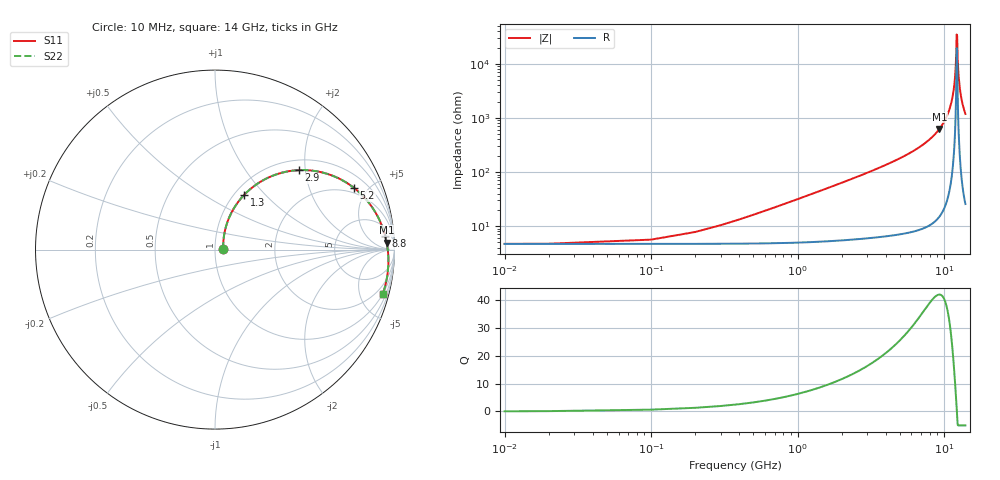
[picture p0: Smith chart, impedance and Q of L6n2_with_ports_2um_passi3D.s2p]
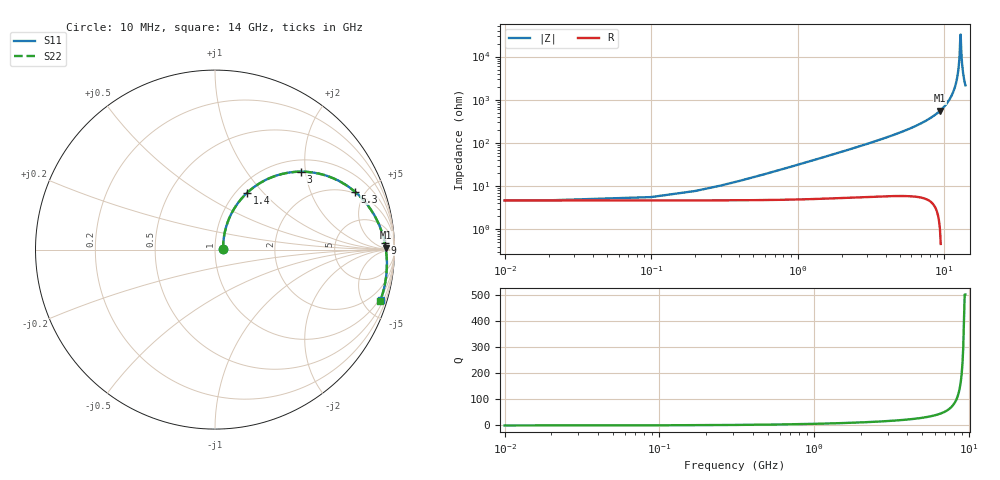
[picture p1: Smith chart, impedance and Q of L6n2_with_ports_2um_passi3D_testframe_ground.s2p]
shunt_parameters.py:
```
"""Shunt path of the L6n2 inductor for two ground plates, compared to the measurement (README section 9).

The shunt branch is taken from the common-mode admittance (both ports tied together, Y11 + Y12 + Y21 + Y22) and
fitted from 0.3 to 5 GHz as an oxide capacitance Cox in series with the substrate, Rsub parallel to Csub.
Single-ended values are for port 2 grounded (1 / Y11), differential values as in plot_study.py.

Prints the table of section 9 and writes plots/shunt_ground.png.

usage: python shunt_parameters.py [file.s2p ...]
Without arguments: the measurement, the 2 um conformal model and the same model with the test frame ground.
With arguments: these Touchstone files instead, e.g. your own inductor results.
"""
import os
import sys

import matplotlib
matplotlib.use("Agg")
from matplotlib import pyplot as plt
import numpy as np
import skrf as rf
from scipy.optimize import least_squares

here = os.path.dirname(os.path.abspath(__file__))
study_dir = os.path.dirname(here)

DEFAULT = [
    (os.path.join(study_dir, "meas_L5_6n2_THRU_deemb.S2P"), "Measured (de-embedded)"),
    (os.path.join(here, "L6n2_with_ports_2um_passi3D.s2p"), "Sim: small ground plate (all other models)"),
    (os.path.join(here, "L6n2_with_ports_2um_passi3D_testframe_ground.s2p"), "Sim: ground plate of test frame size"),
]
FIT_RANGE = (0.3e9, 5e9)
Q_RANGE = (0.3e9, 12e9)     # search range for peak Q and SRF

colors = ['b', 'r', 'm', 'c', 'g', 'y', 'k']
linestyles = ['solid', 'dashed', 'dashdot', 'dotted', 'solid', 'dashed', 'dashdot']


def y_common(nw):
    """shunt admittance of both ports together"""
    y = nw.y
    return y[:, 0, 0] + y[:, 0, 1] + y[:, 1, 0] + y[:, 1, 1]


def fit_shunt(nw):
    """Cox (F), Rsub (Ohm), Csub (F) and the rms fit error (relative)"""
    sel = (nw.f >= FIT_RANGE[0]) & (nw.f <= FIT_RANGE[1])
    w = 2 * np.pi * nw.f[sel]
    y = y_common(nw)[sel]

    def residual(q):
        cox, rsub, csub = np.exp(q)
        model = 1 / (1 / (1j * w * cox) + 1 / (1 / rsub + 1j * w * csub))
        e = (model - y) / np.abs(y)
        return np.r_[e.real, e.imag]

    best = None
    for c0 in (60e-15, 120e-15, 250e-15):
        for r0 in (500.0, 2000.0):
            r = least_squares(residual, np.log([c0, r0, 30e-15]))
            if best is None or r.cost < best.cost:
                best = r
    cox, rsub, csub = np.exp(best.x)
    return cox, rsub, csub, np.sqrt(best.cost / len(w))


def peak_q_and_srf(f, z):
    """peak Q and the first zero crossing of the reactance within Q_RANGE"""
    sel = (f >= Q_RANGE[0]) & (f <= Q_RANGE[1])
    q = np.where(sel, z.imag / z.real, -np.inf)
    i = np.where(sel[:-1] & (z.imag[:-1] > 0) & (z.imag[1:] <= 0))[0]
    srf = np.nan
    if len(i):
        k = i[0]
        srf = f[k] + (f[k + 1] - f[k]) * z.imag[k] / (z.imag[k] - z.imag[k + 1])
    return q.max(), srf


def values(nw):
    cox, rsub, csub, rms = fit_shunt(nw)
    f = nw.f
    k = int(np.argmin(np.abs(f - 2.4e9)))
    z = nw.z
    q_se, srf_se = peak_q_and_srf(f, 1 / nw.y[:, 0, 0])
    q_diff, srf_diff = peak_q_and_srf(f, z[:, 0, 0] - z[:, 0, 1] - z[:, 1, 0] + z[:, 1, 1])
    return [("Substrate resistance Rsub (Ohm)", "%.0f" % rsub),
            ("Substrate capacitance Csub (fF)", "%.0f" % (csub * 1e15)),
            ("Oxide capacitance Cox (fF)", "%.0f" % (cox * 1e15)),
            ("Fit error, rms (%)", "%.1f" % (rms * 100)),
            ("Shunt capacitance at 2.4 GHz, both ports (fF)", "%.0f" % (y_common(nw)[k].imag / (2 * np.pi * f[k]) * 1e15)),
            ("Single-ended SRF (GHz)", "%.2f" % (srf_se / 1e9)),
            ("Single-ended peak Q", "%.1f" % q_se),
            ("Differential peak Q", "%.2f" % q_diff),
            ("Differential SRF (GHz)", "%.2f" % (srf_diff / 1e9))]


def plot(networks, out_path):
    fig, axes = plt.subplots(1, 2, figsize=(12, 4.5))
    fig.suptitle("Shunt path, both ports together")
    panels = [(axes[0], lambda f, y: y.imag / (2 * np.pi * f) * 1e15, "Shunt capacitance (fF)", (0, 180)),
              (axes[1], lambda f, y: y.real * 1e3, "Shunt conductance (mS)", (0, 1.2))]
    for ax, value, ylabel, ylim in panels:
        for n, (nw, label) in enumerate(networks):
            sel = (nw.f >= 0.1e9) & (nw.f <= 10e9)
            ax.plot(nw.f[sel] / 1e9, value(nw.f[sel], y_common(nw)[sel]), color=colors[n % 7],
                    linestyle=linestyles[n % 7], label=label)
        ax.set_xscale("log")
        ax.set_xlim(0.1, 10)
        ax.set_ylim(*ylim)
        ax.set_xlabel("Frequency (GHz)")
        ax.set_ylabel(ylabel)
        ax.legend(fontsize=9)
        ax.grid(which="both")
    fig.tight_layout()
    fig.savefig(out_path, dpi=125)
    plt.close(fig)
    print("wrote", out_path)


if __name__ == "__main__":
    entries = [(p, os.path.basename(p)) for p in sys.argv[1:]] or DEFAULT
    networks = [(rf.Network(path), label) for path, label in entries]
    columns = [values(nw) for nw, _ in networks]
    for n, (_, label) in enumerate(networks):
        print("column %d: %s" % (n + 1, label))
    for row in range(len(columns[0])):
        print("%-48s" % columns[0][row][0] + "".join("%10s" % c[row][1] for c in columns))
    if not sys.argv[1:]:
        os.makedirs(os.path.join(here, "plots"), exist_ok=True)
        plot(networks, os.path.join(here, "plots", "shunt_ground.png"))
```
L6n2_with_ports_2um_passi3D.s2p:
#  GHZ S DB R 50.0
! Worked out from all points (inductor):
!   142 points, 10 MHz to 14 GHz, reference 50 ohm
!   read as one part in series: L = 4.93 nH near 500 MHz
!   highest Q = 41.9 at 9.3 GHz (marker M1), where L = 10.7 nH
!   self-resonance near 12.2 GHz
!   S11 on the Smith chart (normalised r, x): 10 MHz: 1.09, +0.01; 1.3 GHz: 1.11, +0.77; 2.9 GHz: 1.22, +1.84; 5.2 GHz: 1.67, +4.08; 8.8 GHz: 12, +18; 14 GHz: 0.98, -7.52
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0.01  -26.97 3.3  -0.40 -0.2  -0.40 -0.2  -26.97 3.3
1.3  -9.17 61.8  -1.10 -22.1  -1.10 -22.1  -9.18 61.8
2.9  -3.83 43.5  -3.07 -43.5  -3.07 -43.5  -3.83 43.5
5.2  -1.44 23.9  -6.84 -64.2  -6.84 -64.2  -1.44 23.9
7.1  -0.72 12.6  -10.53 -76.0  -10.53 -76.0  -0.72 12.6
8.8  -0.43 4.5  -14.70 -84.2  -14.70 -84.2  -0.43 4.5
9.3  -0.38 2.4  -16.24 -86.3  -16.24 -86.3  -0.38 2.3
11.5  -0.26 -6.2  -28.79 -93.3  -28.79 -93.3  -0.26 -6.2
12.2  -0.26 -8.7  -51.19 -64.6  -51.19 -64.6  -0.26 -8.7
12.8  -0.26 -10.8  -31.71 76.0  -31.71 76.0  -0.26 -10.8
14  -0.29 -14.9  -21.92 74.1  -21.92 74.1  -0.29 -14.9
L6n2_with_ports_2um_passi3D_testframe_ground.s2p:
#  GHZ S DB R 50.0
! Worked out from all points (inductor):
!   142 points, 10 MHz to 14 GHz, reference 50 ohm
!   read as one part in series: L = 4.9 nH near 500 MHz
!   highest Q = 594 at 9.4 GHz (marker M1), where L = 9.43 nH
!   self-resonance near 12.9 GHz
!   S11 on the Smith chart (normalised r, x): 10 MHz: 1.09, +0.01; 1.4 GHz: 1.12, +0.82; 3 GHz: 1.27, +1.89; 5.3 GHz: 1.88, +4.21; 9 GHz: 23, +17; 14 GHz: 0.81, -6.59
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0.01  -26.98 3.6  -0.40 -0.2  -0.40 -0.2  -26.98 3.5
1.4  -8.76 60.5  -1.17 -23.9  -1.17 -23.9  -8.76 60.4
3  -3.78 42.2  -3.15 -45.2  -3.15 -45.2  -3.78 42.1
5.3  -1.48 22.6  -6.78 -66.0  -6.78 -66.0  -1.48 22.5
7.1  -0.81 11.6  -10.04 -77.5  -10.04 -77.5  -0.81 11.6
9  -0.48 2.4  -14.22 -87.4  -14.22 -87.4  -0.48 2.3
9.4  -0.44 0.6  -15.28 -89.3  -15.28 -89.3  -0.44 0.6
12.1  -0.30 -10.1  -28.28 -103.5  -28.28 -103.5  -0.30 -10.2
13  -0.30 -13.4  -50.65 142.1  -50.65 142.1  -0.30 -13.5
13.3  -0.30 -14.5  -36.88 86.6  -36.88 86.6  -0.30 -14.6
14  -0.31 -17.0  -27.23 76.8  -27.23 76.8  -0.32 -17.1
